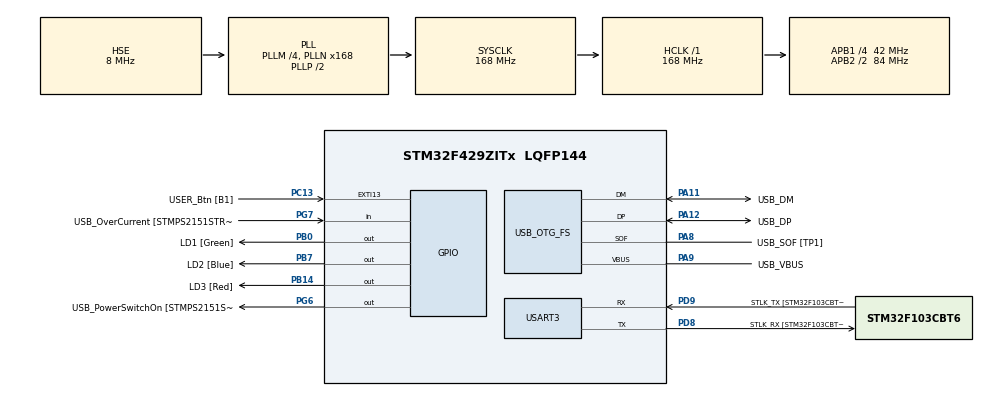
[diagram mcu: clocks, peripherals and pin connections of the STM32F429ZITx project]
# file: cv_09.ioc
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Mcu.Family=STM32F4
Mcu.Name=STM32F429ZITx
Mcu.Package=LQFP144
NVIC.OTG_FS_IRQn=true\:0\:0\:false\:false\:true\:false\:true
NVIC.PriorityGroup=NVIC_PRIORITYGROUP_4
PA1.GPIO_Label=RMII_REF_CLK [LAN8742A-CZ-TR_REFCLK0]
PA1.Signal=ETH_REF_CLK
PA10.GPIO_Label=USB_ID
PA10.Signal=USB_OTG_FS_ID
PA11.GPIO_Label=USB_DM
PA11.Mode=Device_Only
PA11.Signal=USB_OTG_FS_DM
PA12.GPIO_Label=USB_DP
PA12.Mode=Device_Only
PA12.Signal=USB_OTG_FS_DP
PA13.GPIO_Label=TMS
PA13.Mode=Serial_Wire
PA13.Signal=SYS_JTMS-SWDIO
PA14.GPIO_Label=TCK
PA14.Mode=Serial_Wire
PA14.Signal=SYS_JTCK-SWCLK
PA2.GPIO_Label=RMII_MDIO [LAN8742A-CZ-TR_MDIO]
PA2.Signal=ETH_MDIO
PA7.GPIO_Label=RMII_CRS_DV [LAN8742A-CZ-TR_CRS_DV]
PA7.Signal=ETH_CRS_DV
PA8.GPIO_Label=USB_SOF [TP1]
PA8.Mode=Activate_SOF_FS
PA8.Signal=USB_OTG_FS_SOF
PA9.GPIO_Label=USB_VBUS
PA9.Mode=Activate_VBUS
PA9.Signal=USB_OTG_FS_VBUS
PB0.GPIO_Label=LD1 [Green]
PB0.Signal=GPIO_Output
PB13.GPIO_Label=RMII_TXD1 [LAN8742A-CZ-TR_TXD1]
PB13.Signal=ETH_TXD1
PB14.GPIO_Label=LD3 [Red]
PB14.Signal=GPIO_Output
PB7.GPIO_Label=LD2 [Blue]
PB7.Signal=GPIO_Output
PC1.GPIO_Label=RMII_MDC [LAN8742A-CZ-TR_MDC]
PC1.Signal=ETH_MDC
PC13.GPIO_Label=USER_Btn [B1]
PC13.Signal=GPXTI13
PC14/OSC32_IN.Mode=LSE-External-Oscillator
PC14/OSC32_IN.Signal=RCC_OSC32_IN
PC15/OSC32_OUT.Mode=LSE-External-Oscillator
PC15/OSC32_OUT.Signal=RCC_OSC32_OUT
PC4.GPIO_Label=RMII_RXD0 [LAN8742A-CZ-TR_RXD0]
PC4.Signal=ETH_RXD0
PC5.GPIO_Label=RMII_RXD1 [LAN8742A-CZ-TR_RXD1]
PC5.Signal=ETH_RXD1
PD8.GPIO_Label=STLK_RX [STM32F103CBT6_PA3]
PD8.Mode=Asynchronous
PD8.Signal=USART3_TX
PD9.GPIO_Label=STLK_TX [STM32F103CBT6_PA2]
PD9.Mode=Asynchronous
PD9.Signal=USART3_RX
PG11.GPIO_Label=RMII_TX_EN [LAN8742A-CZ-TR_TXEN]
PG11.Signal=ETH_TX_EN
PG13.GPIO_Label=RMII_TXD0 [LAN8742A-CZ-TR_TXD0]
PG13.Signal=ETH_TXD0
PG6.GPIO_Label=USB_PowerSwitchOn [STMPS2151STR_EN]
PG6.Signal=GPIO_Output
PG7.GPIO_Label=USB_OverCurrent [STMPS2151STR_FAULT]
PG7.Signal=GPIO_Input
PH0/OSC_IN.GPIO_Label=MCO [STM32F103CBT6_PA8]
PH0/OSC_IN.Mode=HSE-External-Clock-Source
PH0/OSC_IN.Signal=RCC_OSC_IN
PH1/OSC_OUT.Mode=HSE-External-Clock-Source
PH1/OSC_OUT.Signal=RCC_OSC_OUT
ProjectManager.HeapSize=0x200
ProjectManager.StackSize=0x400
ProjectManager.TargetToolchain=STM32CubeIDE
RCC.48MHZClocksFreq_Value=48000000
RCC.AHBFreq_Value=168000000
RCC.APB1CLKDivider=RCC_HCLK_DIV4
RCC.APB1Freq_Value=42000000
RCC.APB1TimFreq_Value=84000000
RCC.APB2CLKDivider=RCC_HCLK_DIV2
RCC.APB2Freq_Value=84000000
RCC.APB2TimCLKDivider=2
RCC.APB2TimFreq_Value=168000000
RCC.CortexFreq_Value=168000000
RCC.HCLKFreq_Value=168000000
RCC.HSE_VALUE=8000000
RCC.HSI_VALUE=16000000
RCC.PLLM=4
RCC.PLLMUL=RCC_PLL_MUL9
RCC.PLLN=168
RCC.PLLQ=7
RCC.PRESCALERUSB=RCC_USBCLKSOURCE_PLL_DIV1_5
RCC.SYSCLKFreq_VALUE=168000000
RCC.SYSCLKSource=RCC_SYSCLKSOURCE_PLLCLK
RCC.SYSCLKSourceVirtual=RCC_SYSCLKSOURCE_PLLCLK
RCC.USBFreq_Value=48000000
RCC.VCOOutputFreq_Value=336000000
USART3.VirtualMode=VM_ASYNC
USB_DEVICE.CLASS_NAME_FS=HID
USB_DEVICE.VirtualMode-HID_FS=Hid
USB_DEVICE.VirtualModeFS=Hid_FS
USB_OTG_FS.VirtualMode=Device_Only
VP_USB_DEVICE_VS_USB_DEVICE_HID_FS.Mode=HID_FS
board=NUCLEO-F429ZI

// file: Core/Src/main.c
/* USER CODE BEGIN Header */
/**
  ******************************************************************************
  * @file           : main.c
  * @brief          : Main program body
  ******************************************************************************
  * @attention
  *
  * <h2><center>&copy; Copyright (c) 2021 STMicroelectronics.
  * All rights reserved.</center></h2>
  *
  * This software component is licensed by ST under BSD 3-Clause license,
  * the "License"; You may not use this file except in compliance with the
  * License. You may obtain a copy of the License at:
  *                        opensource.org/licenses/BSD-3-Clause
  *
  ******************************************************************************
  */
/* USER CODE END Header */
#include "main.h"
#include "usb_device.h"
#include <math.h>
#include <stdbool.h>
/* USER CODE BEGIN Includes */
#include  "usbd_hid.h"
/* USER CODE END Includes */

UART_HandleTypeDef huart3;

void SystemClock_Config(void);
static void MX_GPIO_Init(void);
static void MX_USART3_UART_Init(void);

/* USER CODE BEGIN 0 */
extern USBD_HandleTypeDef hUsbDeviceFS;

void step( int32_t dx, int32_t dy, bool btn) {
	uint8_t buff[4];
	if (btn==1)
	{
		buff[0] = 0x01; // stiskni leve tlacitko
	} else
	{
		buff[0] = 0x00;
	}

	buff[1] = (int8_t)(dx); // posun X +10
	buff[2] = (int8_t)(dy); // posun Y -3
	buff[3] = 0; // bez scrollu
	USBD_HID_SendReport(&hUsbDeviceFS, buff, sizeof(buff));
	HAL_Delay(USBD_HID_GetPollingInterval(&hUsbDeviceFS));
}

void kruh (uint8_t r, uint16_t prvniuhel, uint16_t velkyuhel){
	int32_t sx=0;
	int32_t sy=0;
	float x=0;
	float y=0;
	uint32_t i;
	for (i=prvniuhel; i<velkyuhel; i= i+10)
	{
		sx=x;
		sy=y;
		x= r*cos(M_PI*i/180);
		y= r*sin(M_PI*i/180);
		int32_t dx=sx-x;
		int32_t dy=sy-y;
		step(dx,dy,1);
		sx=sx-dx;
		sy=sy-dy;
	}
}
/* USER CODE END 0 */

int main(void)
{

  /* MCU Configuration--------------------------------------------------------*/

  /* Reset of all peripherals, Initializes the Flash interface and the Systick. */
  HAL_Init();

  /* Configure the system clock */
  SystemClock_Config();

  /* Initialize all configured peripherals */
  MX_GPIO_Init();
  MX_USART3_UART_Init();
  MX_USB_DEVICE_Init();

  /* Infinite loop */
  /* USER CODE BEGIN WHILE */
  while (1)
  {

	  if(HAL_GPIO_ReadPin(USER_Btn_GPIO_Port, USER_Btn_Pin)==1){
		  kruh(100, 0, 370);
		  step(0, 0, 0);
		  step(40, -20, 0);
		  kruh(20, 0, 360);

		  step(0, 0, 0);
		  step(100, 0, 0);
		  kruh(20, 0, 360);

		  step(0, 0, 0);
		  step(-40, 0, 1);
		  step(0, 20, 0);
		  step(0, 0, 0);

		  step(0, 0, 0);
		  step(-30, 10, 0);
		  kruh(60, 190, 350);
		  step(0, 0, 0);

	  }
    /* USER CODE END WHILE */

  }
}

void SystemClock_Config(void)
{
  RCC_OscInitTypeDef RCC_OscInitStruct = {0};
  RCC_ClkInitTypeDef RCC_ClkInitStruct = {0};

  /** Configure the main internal regulator output voltage
  */
  __HAL_RCC_PWR_CLK_ENABLE();
  __HAL_PWR_VOLTAGESCALING_CONFIG(PWR_REGULATOR_VOLTAGE_SCALE1);
  /** Initializes the RCC Oscillators according to the specified parameters
  * in the RCC_OscInitTypeDef structure.
  */
  RCC_OscInitStruct.OscillatorType = RCC_OSCILLATORTYPE_HSE;
  RCC_OscInitStruct.HSEState = RCC_HSE_BYPASS;
  RCC_OscInitStruct.PLL.PLLState = RCC_PLL_ON;
  RCC_OscInitStruct.PLL.PLLSource = RCC_PLLSOURCE_HSE;
  RCC_OscInitStruct.PLL.PLLM = 4;
  RCC_OscInitStruct.PLL.PLLN = 168;
  RCC_OscInitStruct.PLL.PLLP = RCC_PLLP_DIV2;
  RCC_OscInitStruct.PLL.PLLQ = 7;
  if (HAL_RCC_OscConfig(&RCC_OscInitStruct) != HAL_OK)
  {
    Error_Handler();
  }
  /** Initializes the CPU, AHB and APB buses clocks
  */
  RCC_ClkInitStruct.ClockType = RCC_CLOCKTYPE_HCLK|RCC_CLOCKTYPE_SYSCLK
                              |RCC_CLOCKTYPE_PCLK1|RCC_CLOCKTYPE_PCLK2;
  RCC_ClkInitStruct.SYSCLKSource = RCC_SYSCLKSOURCE_PLLCLK;
  RCC_ClkInitStruct.AHBCLKDivider = RCC_SYSCLK_DIV1;
  RCC_ClkInitStruct.APB1CLKDivider = RCC_HCLK_DIV4;
  RCC_ClkInitStruct.APB2CLKDivider = RCC_HCLK_DIV2;

  if (HAL_RCC_ClockConfig(&RCC_ClkInitStruct, FLASH_LATENCY_5) != HAL_OK)
  {
    Error_Handler();
  }
}

static void MX_USART3_UART_Init(void)
{

  huart3.Instance = USART3;
  huart3.Init.BaudRate = 115200;
  huart3.Init.WordLength = UART_WORDLENGTH_8B;
  huart3.Init.StopBits = UART_STOPBITS_1;
  huart3.Init.Parity = UART_PARITY_NONE;
  huart3.Init.Mode = UART_MODE_TX_RX;
  huart3.Init.HwFlowCtl = UART_HWCONTROL_NONE;
  huart3.Init.OverSampling = UART_OVERSAMPLING_16;
  if (HAL_UART_Init(&huart3) != HAL_OK)
  {
    Error_Handler();
  }

}

static void MX_GPIO_Init(void)
{
  GPIO_InitTypeDef GPIO_InitStruct = {0};

  /* GPIO Ports Clock Enable */
  __HAL_RCC_GPIOC_CLK_ENABLE();
  __HAL_RCC_GPIOH_CLK_ENABLE();
  __HAL_RCC_GPIOA_CLK_ENABLE();
  __HAL_RCC_GPIOB_CLK_ENABLE();
  __HAL_RCC_GPIOD_CLK_ENABLE();
  __HAL_RCC_GPIOG_CLK_ENABLE();

  /*Configure GPIO pin Output Level */
  HAL_GPIO_WritePin(GPIOB, LD1_Pin|LD3_Pin|LD2_Pin, GPIO_PIN_RESET);

  /*Configure GPIO pin Output Level */
  HAL_GPIO_WritePin(USB_PowerSwitchOn_GPIO_Port, USB_PowerSwitchOn_Pin, GPIO_PIN_RESET);

  /*Configure GPIO pin : USER_Btn_Pin */
  GPIO_InitStruct.Pin = USER_Btn_Pin;
  GPIO_InitStruct.Mode = GPIO_MODE_IT_RISING;
  GPIO_InitStruct.Pull = GPIO_NOPULL;
  HAL_GPIO_Init(USER_Btn_GPIO_Port, &GPIO_InitStruct);

  /*Configure GPIO pins : RMII_MDC_Pin RMII_RXD0_Pin RMII_RXD1_Pin */
  GPIO_InitStruct.Pin = RMII_MDC_Pin|RMII_RXD0_Pin|RMII_RXD1_Pin;
  GPIO_InitStruct.Mode = GPIO_MODE_AF_PP;
  GPIO_InitStruct.Pull = GPIO_NOPULL;
  GPIO_InitStruct.Speed = GPIO_SPEED_FREQ_VERY_HIGH;
  GPIO_InitStruct.Alternate = GPIO_AF11_ETH;
  HAL_GPIO_Init(GPIOC, &GPIO_InitStruct);

  /*Configure GPIO pins : RMII_REF_CLK_Pin RMII_MDIO_Pin RMII_CRS_DV_Pin */
  GPIO_InitStruct.Pin = RMII_REF_CLK_Pin|RMII_MDIO_Pin|RMII_CRS_DV_Pin;
  GPIO_InitStruct.Mode = GPIO_MODE_AF_PP;
  GPIO_InitStruct.Pull = GPIO_NOPULL;
  GPIO_InitStruct.Speed = GPIO_SPEED_FREQ_VERY_HIGH;
  GPIO_InitStruct.Alternate = GPIO_AF11_ETH;
  HAL_GPIO_Init(GPIOA, &GPIO_InitStruct);

  /*Configure GPIO pins : LD1_Pin LD3_Pin LD2_Pin */
  GPIO_InitStruct.Pin = LD1_Pin|LD3_Pin|LD2_Pin;
  GPIO_InitStruct.Mode = GPIO_MODE_OUTPUT_PP;
  GPIO_InitStruct.Pull = GPIO_NOPULL;
  GPIO_InitStruct.Speed = GPIO_SPEED_FREQ_LOW;
  HAL_GPIO_Init(GPIOB, &GPIO_InitStruct);

  /*Configure GPIO pin : RMII_TXD1_Pin */
  GPIO_InitStruct.Pin = RMII_TXD1_Pin;
  GPIO_InitStruct.Mode = GPIO_MODE_AF_PP;
  GPIO_InitStruct.Pull = GPIO_NOPULL;
  GPIO_InitStruct.Speed = GPIO_SPEED_FREQ_VERY_HIGH;
  GPIO_InitStruct.Alternate = GPIO_AF11_ETH;
  HAL_GPIO_Init(RMII_TXD1_GPIO_Port, &GPIO_InitStruct);

  /*Configure GPIO pin : USB_PowerSwitchOn_Pin */
  GPIO_InitStruct.Pin = USB_PowerSwitchOn_Pin;
  GPIO_InitStruct.Mode = GPIO_MODE_OUTPUT_PP;
  GPIO_InitStruct.Pull = GPIO_NOPULL;
  GPIO_InitStruct.Speed = GPIO_SPEED_FREQ_LOW;
  HAL_GPIO_Init(USB_PowerSwitchOn_GPIO_Port, &GPIO_InitStruct);

  /*Configure GPIO pin : USB_OverCurrent_Pin */
  GPIO_InitStruct.Pin = USB_OverCurrent_Pin;
  GPIO_InitStruct.Mode = GPIO_MODE_INPUT;
  GPIO_InitStruct.Pull = GPIO_NOPULL;
  HAL_GPIO_Init(USB_OverCurrent_GPIO_Port, &GPIO_InitStruct);

  /*Configure GPIO pins : RMII_TX_EN_Pin RMII_TXD0_Pin */
  GPIO_InitStruct.Pin = RMII_TX_EN_Pin|RMII_TXD0_Pin;
  GPIO_InitStruct.Mode = GPIO_MODE_AF_PP;
  GPIO_InitStruct.Pull = GPIO_NOPULL;
  GPIO_InitStruct.Speed = GPIO_SPEED_FREQ_VERY_HIGH;
  GPIO_InitStruct.Alternate = GPIO_AF11_ETH;
  HAL_GPIO_Init(GPIOG, &GPIO_InitStruct);

}

void Error_Handler(void)
{
  __disable_irq();
  while (1)
  {
  }
}

/************************ (C) COPYRIGHT STMicroelectronics *****END OF FILE****/
